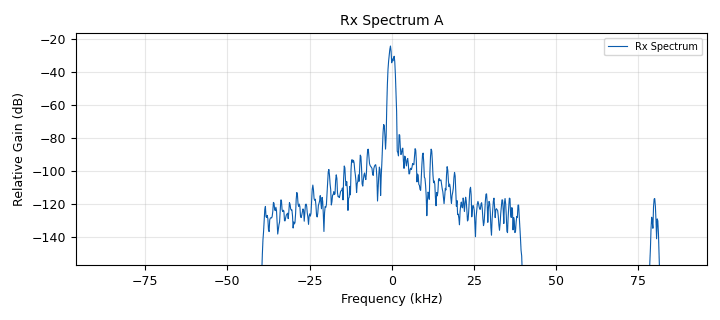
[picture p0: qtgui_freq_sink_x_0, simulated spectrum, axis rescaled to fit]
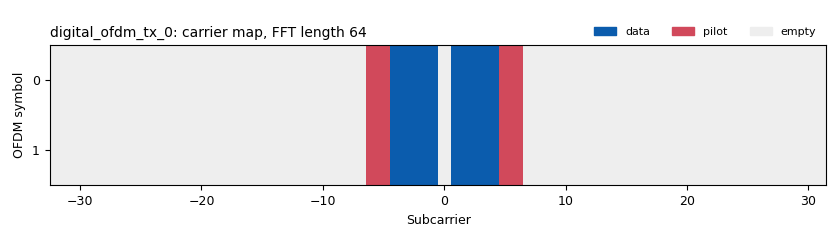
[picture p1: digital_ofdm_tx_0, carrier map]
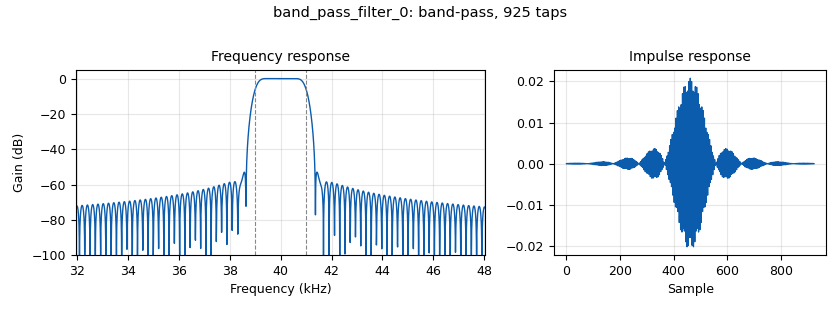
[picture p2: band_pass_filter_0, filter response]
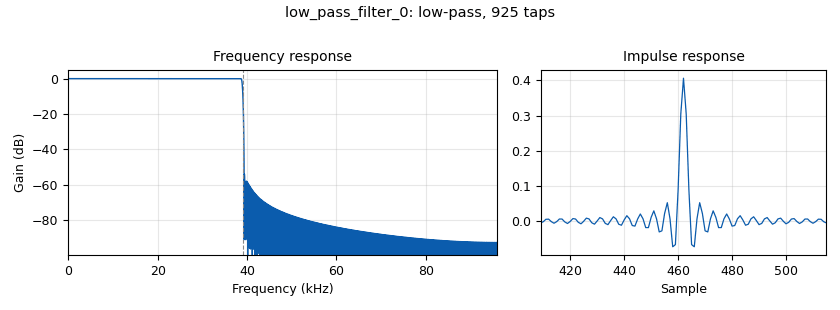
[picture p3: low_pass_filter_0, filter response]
options:
  parameters:
    author: MA
    category: Custom
    comment: |-
      Notes by MA: this flow graph was created in March 
      to try and find a soultion for OFDM using float instead 
      of complex audio sink. i used virtual pads which have been 
      replaced by vitual source/sink. This has resolved one problem 
      but created an issue with the following error. 
      header_payload_demux :info: Detected a packet larger than max frame size (110 symbols)
    description: 'OFDM file transfer '
    generate_options: qt_gui
    id: OFDM_by_MA
    output_language: python
    title: OFDM_by_MA
  states: {}

blocks:
- name: Q_amp
  id: variable_qtgui_range
  parameters:
    label: Q_amp
    start: '-1'
    step: '0.01'
    stop: '1'
    value: '0'
  states: {}
- name: fft_len
  id: variable
  parameters:
    value: '64'
  states: {}
- name: i_amp
  id: variable_qtgui_range
  parameters:
    label: i_amp
    start: '-1'
    step: '0.01'
    stop: '1'
    value: '0'
  states: {}
- name: len_tag_key
  id: variable
  parameters:
    value: '"packet_len"'
  states: {}
- name: packet_len
  id: variable
  parameters:
    value: '50'
  states: {}
- name: samp_rate
  id: variable
  parameters:
    value: 192e3
  states: {}
- name: analog_random_source_x_0
  id: analog_random_source_x
  parameters:
    max: '2'
    min: '0'
    num_samps: '50'
    repeat: 'True'
    type: byte
  states: {}
- name: analog_sig_source_x_0
  id: analog_sig_source_x
  parameters:
    amp: '1'
    freq: '40000'
    offset: '0'
    phase: '0'
    samp_rate: samp_rate
    type: float
    waveform: analog.GR_COS_WAVE
  states: {}
- name: analog_sig_source_x_0_0
  id: analog_sig_source_x
  parameters:
    amp: '1'
    freq: '40000'
    offset: '0'
    phase: '0'
    samp_rate: samp_rate
    type: float
    waveform: analog.GR_SIN_WAVE
  states: {}
- name: analog_sig_source_x_0_0_0
  id: analog_sig_source_x
  parameters:
    amp: '1'
    freq: '40000'
    offset: '0'
    phase: '0'
    samp_rate: samp_rate
    type: float
    waveform: analog.GR_SIN_WAVE
  states: {}
- name: analog_sig_source_x_0_1
  id: analog_sig_source_x
  parameters:
    amp: '1'
    freq: '40000'
    offset: '0'
    phase: '0'
    samp_rate: samp_rate
    type: float
    waveform: analog.GR_COS_WAVE
  states: {}
- name: audio_sink_0
  id: audio_sink
  parameters:
    device_name: Transducer_TX
    samp_rate: '48000'
  states: {state: disabled}
- name: audio_source_0
  id: audio_source
  parameters:
    device_name: Transducer_RX
    samp_rate: '48000'
  states: {state: disabled}
- name: band_pass_filter_0
  id: band_pass_filter
  parameters:
    decim: '1'
    gain: '1'
    high_cutoff_freq: '41000'
    low_cutoff_freq: '39000'
    samp_rate: samp_rate
    type: fir_filter_fff
    width: '500'
    win: window.WIN_HAMMING
  states: {}
- name: band_pass_filter_1
  id: band_pass_filter
  parameters:
    decim: '1'
    gain: '1'
    high_cutoff_freq: '41000'
    low_cutoff_freq: '39000'
    samp_rate: samp_rate
    type: fir_filter_fff
    width: '500'
    win: window.WIN_HAMMING
  states: {}
- name: blocks_add_xx_0
  id: blocks_add_xx
  parameters:
    type: float
  states: {}
- name: blocks_complex_to_float_0
  id: blocks_complex_to_float
  parameters: {}
  states: {}
- name: blocks_file_sink_0
  id: blocks_file_sink
  parameters:
    file: /home/michael/Desktop/output.tmp
    type: byte
    unbuffered: 'True'
  states: {}
- name: blocks_float_to_complex_0
  id: blocks_float_to_complex
  parameters: {}
  states: {}
- name: blocks_multiply_xx_0
  id: blocks_multiply_xx
  parameters:
    type: float
  states: {}
- name: blocks_multiply_xx_0_0
  id: blocks_multiply_xx
  parameters:
    type: float
  states: {}
- name: blocks_multiply_xx_0_0_0
  id: blocks_multiply_xx
  parameters:
    type: float
  states: {}
- name: blocks_multiply_xx_0_1
  id: blocks_multiply_xx
  parameters:
    type: float
  states: {}
- name: blocks_stream_to_tagged_stream_0
  id: blocks_stream_to_tagged_stream
  parameters:
    len_tag_key: len_tag_key
    packet_len: packet_len
    type: byte
  states: {}
- name: blocks_throttle_0
  id: blocks_throttle
  parameters:
    samples_per_second: samp_rate
    type: complex
  states: {}
- name: blocks_uchar_to_float_1_0
  id: blocks_uchar_to_float
  parameters: {}
  states: {}
- name: blocks_unpack_k_bits_bb_0
  id: blocks_unpack_k_bits_bb
  parameters:
    k: '8'
  states: {}
- name: blocks_vector_source_x_0
  id: blocks_vector_source_x
  parameters:
    repeat: 'True'
    tags: ()
    type: byte
    vector: range(packet_len)
  states: {state: disabled}
- name: digital_ofdm_rx_0
  id: digital_ofdm_rx
  parameters:
    cp_len: fft_len//4
    fft_len: fft_len
    header_mod: '"QPSK"'
    occupied_carriers: ((-4,-3,-2,-1,1,2,3,4),)
    packet_len_key: len_tag_key
    payload_mod: '"QPSK"'
    pilot_carriers: ((-6,-5,5,6),)
    pilot_symbols: ((-1,1,-1,1),)
    sync_word1: None
    sync_word2: None
  states: {}
- name: digital_ofdm_tx_0
  id: digital_ofdm_tx
  parameters:
    cp_len: fft_len//4
    fft_len: fft_len
    header_mod: '"BPSK"'
    occupied_carriers: ((-4,-3,-2,-1,1,2,3,4),)
    packet_len_key: len_tag_key
    payload_mod: '"QPSK"'
    pilot_carriers: ((-6,-5,5,6),)
    pilot_symbols: ((-1,1,-1,1),)
    rolloff: '0'
    sync_word1: None
    sync_word2: None
  states: {}
- name: epy_block_0
  id: epy_block
  parameters:
    FileName: '"/home/michael/Desktop/Desktop files/iliad2.txt" '
    Pkt_len: packet_len
    _source_code: "\"\"\"\nEmbedded Python Block: File Source to Tagged Stream\n\"\"\"\n\nimport numpy as np\nfrom gnuradio import gr\nimport pmt\nimport os.path\nimport sys\n\nclass blk(gr.sync_block):\n    def __init__(self, FileName='None', Pkt_len=256):\n        gr.sync_block.__init__(\n            self,\n            name='EPB: File Source to Tagged Stream',\n            in_sig=None,\n            out_sig=[np.uint8])\n        self.FileName = FileName\n        self.Pkt_len = Pkt_len\n        self.state = 0\n        self.pre_count = 0\n        self.indx = 0\n        if (os.path.exists(self.FileName)):\n            # open input file\n            self.f_in = open (self.FileName, 'rb')\n            self._eof = False\n        else:\n            print(FileName, 'does not exist')\n            self._eof = True\n            self.state = 3\n\n        self.char_list = [37,85,85,85,85,85,85,85,85,85,85,85,85,85,85,85, 85,85,85,85,85,85,85,85,85,85,85,85,85,85,85,85, 85,85,85,85,85,85,85,85,85,85,85,85,85,85,85,85, 85,85,85,93]\n        self.c_len = len (self.char_list)\n        # print (self.c_len)\n\n    def work(self, input_items, output_items):\n        if (self.state == 0):\n            # send phasing filler\n            key1 = pmt.intern(\"packet_len\")\n            val1 = pmt.from_long(self.c_len)\n            self.add_item_tag(0, # Write to output port 0\n                self.indx,   # Index of the tag\n                key1,   # Key of the tag\n                val1    # Value of the tag\n                )\n            self.indx += self.c_len\n            i = 0\n            while (i < self.c_len):\n                output_items[0][i] = self.char_list[i]\n                i += 1\n            self.pre_count += 1\n            if (self.pre_count > 19):\n                self.state = 1\n            return (self.c_len)\n        elif (self.state == 1):\n            while (not (self._eof)):\n                buff = self.f_in.read (self.Pkt_len)\n                b_len = len(buff)\n                if b_len == 0:\n                    print ('End of file')\n                    self._eof = True\n                    self.f_in.close()\n                    self.state = 2\n                    self.pre_count = 0\n                    break\n                key0 = pmt.intern(\"packet_len\")\n                val0 = pmt.from_long(b_len)\n                self.add_item_tag(0, # Write to output port 0\n                    self.indx,   # Index of the tag\n                    key0,   # Key of the tag\n                    val0    # Value of the tag\n                    )\n                self.indx += b_len\n                i = 0\n                while (i < b_len):\n                    output_items[0][i] = buff[i]\n                    i += 1\n                return (b_len)\n        elif (self.state == 2):\n            # send idle filler\n            key1 = pmt.intern(\"packet_len\")\n            val1 = pmt.from_long(self.c_len)\n            self.add_item_tag(0, # Write to output port 0\n                self.indx,   # Index of the tag\n                key1,   # Key of the tag\n                val1    # Value of the tag\n                )\n            self.indx += self.c_len\n            i = 0\n            while (i < self.c_len):\n                output_items[0][i] = self.char_list[i]\n                i += 1\n            self.pre_count += 1\n            if (self.pre_count > 4):\n                self.state = 3\n            return (self.c_len)\n        return (0)\n\n"
  states: {state: disabled}
- name: low_pass_filter_0
  id: low_pass_filter
  parameters:
    cutoff_freq: '39000'
    decim: '1'
    gain: '1'
    samp_rate: samp_rate
    type: fir_filter_fff
    width: '500'
    win: window.WIN_HAMMING
  states: {}
- name: low_pass_filter_0_0
  id: low_pass_filter
  parameters:
    cutoff_freq: '39000'
    decim: '1'
    gain: '1'
    samp_rate: samp_rate
    type: fir_filter_fff
    width: '500'
    win: window.WIN_HAMMING
  states: {}
- name: qtgui_freq_sink_x_0
  id: qtgui_freq_sink_x
  parameters:
    bw: samp_rate
    fc: '0'
    fftsize: '1024'
    label1: Rx Spectrum
    name: Rx Spectrum A
    showports: 'True'
    type: complex
    ymin: '-10'
  states: {}
- name: qtgui_freq_sink_x_0_0
  id: qtgui_freq_sink_x
  parameters:
    bw: samp_rate
    fc: '0'
    fftsize: '1024'
    label1: Rx Spectrum
    name: Rx Spectrum B
    showports: 'True'
    type: float
    ymax: '140'
  states: {}
- name: qtgui_time_sink_x_0
  id: qtgui_time_sink_x
  parameters:
    label1: ''
    name: Scope plot
    size: '1024'
    srate: samp_rate
    tr_delay: '50e-6'
    tr_level: '0'
    tr_mode: qtgui.TRIG_MODE_TAG
    tr_tag: '"packet_len"'
    type: float
  states: {}
- name: virtual_sink_0
  id: virtual_sink
  parameters:
    stream_id: abc sink in
  states: {}
- name: virtual_sink_0_0
  id: virtual_sink
  parameters:
    stream_id: abc sink out
  states: {}
- name: virtual_sink_1
  id: virtual_sink
  parameters:
    stream_id: t1
  states: {}
- name: virtual_source_0
  id: virtual_source
  parameters:
    stream_id: abc sink out
  states: {}
- name: virtual_source_0_0
  id: virtual_source
  parameters:
    stream_id: abc sink in
  states: {}
- name: virtual_source_1_0
  id: virtual_source
  parameters:
    stream_id: t1
  states: {}

connections:
- [analog_random_source_x_0, '0', blocks_stream_to_tagged_stream_0, '0']
- [analog_sig_source_x_0, '0', blocks_multiply_xx_0, '1']
- [analog_sig_source_x_0_0, '0', blocks_multiply_xx_0_0, '1']
- [analog_sig_source_x_0_0_0, '0', blocks_multiply_xx_0_0_0, '1']
- [analog_sig_source_x_0_1, '0', blocks_multiply_xx_0_1, '0']
- [audio_source_0, '0', blocks_multiply_xx_0, '1']
- [audio_source_0, '0', blocks_multiply_xx_0_0, '0']
- [band_pass_filter_0, '0', blocks_add_xx_0, '0']
- [band_pass_filter_1, '0', blocks_add_xx_0, '1']
- [blocks_add_xx_0, '0', audio_sink_0, '0']
- [blocks_add_xx_0, '0', virtual_sink_1, '0']
- [blocks_complex_to_float_0, '0', blocks_multiply_xx_0_1, '1']
- [blocks_complex_to_float_0, '1', blocks_multiply_xx_0_0_0, '0']
- [blocks_float_to_complex_0, '0', virtual_sink_0_0, '0']
- [blocks_multiply_xx_0, '0', low_pass_filter_0_0, '0']
- [blocks_multiply_xx_0_0, '0', low_pass_filter_0, '0']
- [blocks_multiply_xx_0_0_0, '0', band_pass_filter_1, '0']
- [blocks_multiply_xx_0_1, '0', band_pass_filter_0, '0']
- [blocks_stream_to_tagged_stream_0, '0', digital_ofdm_tx_0, '0']
- [blocks_throttle_0, '0', virtual_sink_0, '0']
- [blocks_uchar_to_float_1_0, '0', qtgui_freq_sink_x_0_0, '0']
- [blocks_uchar_to_float_1_0, '0', qtgui_time_sink_x_0, '0']
- [blocks_unpack_k_bits_bb_0, '0', blocks_uchar_to_float_1_0, '0']
- [blocks_vector_source_x_0, '0', blocks_stream_to_tagged_stream_0, '0']
- [digital_ofdm_rx_0, '0', blocks_file_sink_0, '0']
- [digital_ofdm_rx_0, '0', blocks_unpack_k_bits_bb_0, '0']
- [digital_ofdm_tx_0, '0', blocks_throttle_0, '0']
- [epy_block_0, '0', blocks_stream_to_tagged_stream_0, '0']
- [low_pass_filter_0, '0', blocks_float_to_complex_0, '1']
- [low_pass_filter_0_0, '0', blocks_float_to_complex_0, '0']
- [virtual_source_0, '0', digital_ofdm_rx_0, '0']
- [virtual_source_0, '0', qtgui_freq_sink_x_0, '0']
- [virtual_source_0_0, '0', blocks_complex_to_float_0, '0']
- [virtual_source_1_0, '0', blocks_multiply_xx_0, '0']
- [virtual_source_1_0, '0', blocks_multiply_xx_0_0, '0']

metadata:
  file_format: 1
